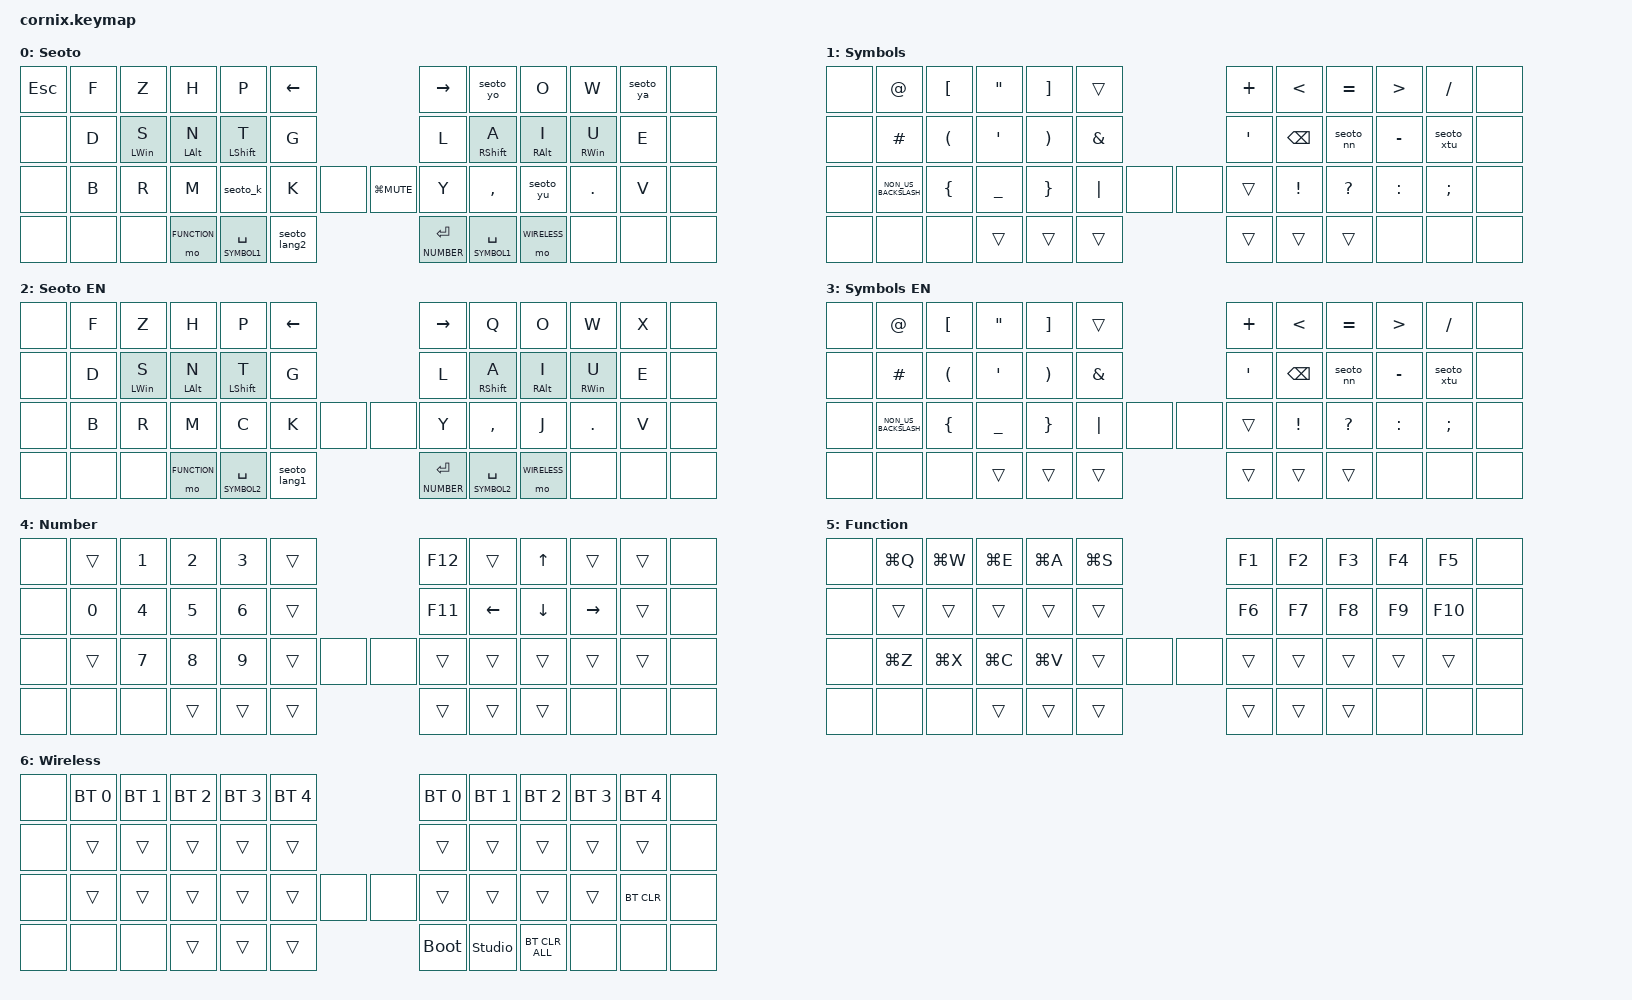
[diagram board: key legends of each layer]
#include <behaviors.dtsi>
#include <dt-bindings/zmk/bt.h>
#include <dt-bindings/zmk/keys.h>

#define SYMBOL1 1
#define SEOTO_EN 2
#define SYMBOL2 3
#define NUMBER 4
#define FUNCTION 5
#define WIRELESS 6

&mt {
    flavor = "tap-preferred";
    tapping-term-ms = <225>;
    quick-tap-ms = <200>;
    require-prior-idle-ms = <150>;
};

&lt {
    flavor = "balanced";
    tapping-term-ms = <175>;
    quick-tap-ms = <200>;
};

/ {
    macros {
        seoto_nn: seoto_nn {
            compatible = "zmk,behavior-macro";
            #binding-cells = <0>;
            bindings = <&macro_tap>, <&kp N &kp N>;
        };

        seoto_xtu: seoto_xtu {
            compatible = "zmk,behavior-macro";
            #binding-cells = <0>;
            bindings = <&macro_tap>, <&kp X &kp T &kp U>;
        };

        seoto_k: seoto_k {
            compatible = "zmk,behavior-macro";
            #binding-cells = <0>;
            bindings = <&macro_tap>, <&kp K>;
        };

        seoto_ya: seoto_ya {
            compatible = "zmk,behavior-macro";
            #binding-cells = <0>;
            bindings = <&macro_tap>, <&kp Y &kp A>;
        };

        seoto_yu: seoto_yu {
            compatible = "zmk,behavior-macro";
            #binding-cells = <0>;
            bindings = <&macro_tap>, <&kp Y &kp U>;
        };

        seoto_yo: seoto_yo {
            compatible = "zmk,behavior-macro";
            #binding-cells = <0>;
            bindings = <&macro_tap>, <&kp Y &kp O>;
        };

        seoto_lang1: seoto_lang1 {
            compatible = "zmk,behavior-macro";
            #binding-cells = <0>;
            bindings = <&macro_tap>, <&kp LANGUAGE_1 &kp INTERNATIONAL_4 &to 0>;
        };

        seoto_lang2: seoto_lang2 {
            compatible = "zmk,behavior-macro";
            #binding-cells = <0>;
            bindings =
                <&macro_tap>,
                <&kp LANGUAGE_2 &kp INTERNATIONAL_5 &to SEOTO_EN>;
        };
    };

    combos {
        compatible = "zmk,combos";

        space {
            bindings = <&kp SPACE>;
            key-positions = <29 28>;
        };
    };

    keymap {
        compatible = "zmk,keymap";

        seoto_layer {
            display-name = "Seoto";
            bindings = <
&kp ESCAPE  &kp F  &kp Z           &kp H           &kp P              &kp LEFT_ARROW                         &kp RIGHT_ARROW   &seoto_yo          &kp O            &kp W            &seoto_ya  &none
&none       &kp D  &mt LEFT_WIN S  &mt LEFT_ALT N  &mt LEFT_SHIFT T   &kp G                                  &kp L             &mt RIGHT_SHIFT A  &mt RIGHT_ALT I  &mt RIGHT_WIN U  &kp E      &none
&none       &kp B  &kp R           &kp M           &seoto_k           &kp K           &none  &kp LG(K_MUTE)  &kp Y             &kp COMMA          &seoto_yu        &kp DOT          &kp V      &none
&none       &none  &none           &mo FUNCTION    &lt SYMBOL1 SPACE  &seoto_lang2                           &lt NUMBER ENTER  &lt SYMBOL1 SPACE  &mo WIRELESS     &none            &none      &none
            >;
        };

        symbol1 {
            display-name = "Symbols";
            bindings = <
&none  &kp AT_SIGN           &kp LEFT_BRACKET      &kp DOUBLE_QUOTES  &kp RIGHT_BRACKET      &trans                       &kp PLUS  &kp LESS_THAN    &kp EQUAL     &kp GREATER_THAN  &kp SLASH   &none
&none  &kp HASH              &kp LEFT_PARENTHESIS  &kp SQT            &kp RIGHT_PARENTHESIS  &kp AMPERSAND                &kp APOS  &kp BACKSPACE    &seoto_nn     &kp MINUS         &seoto_xtu  &none
&none  &kp NON_US_BACKSLASH  &kp LEFT_BRACE        &kp UNDERSCORE     &kp RIGHT_BRACE        &kp PIPE       &none  &none  &trans    &kp EXCLAMATION  &kp QUESTION  &kp COLON         &kp SEMI    &none
&none  &none                 &none                 &trans             &trans                 &trans                       &trans    &trans           &trans        &none             &none       &none
            >;
        };

        seoto_en_layer {
            display-name = "Seoto EN";
            bindings = <
&none  &kp F  &kp Z           &kp H           &kp P              &kp LEFT_ARROW                &kp RIGHT_ARROW   &kp Q              &kp O            &kp W            &kp X  &none
&none  &kp D  &mt LEFT_WIN S  &mt LEFT_ALT N  &mt LEFT_SHIFT T   &kp G                         &kp L             &mt RIGHT_SHIFT A  &mt RIGHT_ALT I  &mt RIGHT_WIN U  &kp E  &none
&none  &kp B  &kp R           &kp M           &kp C              &kp K           &none  &none  &kp Y             &kp COMMA          &kp J            &kp DOT          &kp V  &none
&none  &none  &none           &mo FUNCTION    &lt SYMBOL2 SPACE  &seoto_lang1                  &lt NUMBER ENTER  &lt SYMBOL2 SPACE  &mo WIRELESS     &none            &none  &none
            >;
        };

        symbol2 {
            display-name = "Symbols EN";
            bindings = <
&none  &kp AT_SIGN           &kp LEFT_BRACKET      &kp DOUBLE_QUOTES  &kp RIGHT_BRACKET      &trans                       &kp PLUS  &kp LESS_THAN    &kp EQUAL     &kp GREATER_THAN  &kp SLASH   &none
&none  &kp HASH              &kp LEFT_PARENTHESIS  &kp SQT            &kp RIGHT_PARENTHESIS  &kp AMPERSAND                &kp APOS  &kp BACKSPACE    &seoto_nn     &kp MINUS         &seoto_xtu  &none
&none  &kp NON_US_BACKSLASH  &kp LEFT_BRACE        &kp UNDERSCORE     &kp RIGHT_BRACE        &kp PIPE       &none  &none  &trans    &kp EXCLAMATION  &kp QUESTION  &kp COLON         &kp SEMI    &none
&none  &none                 &none                 &trans             &trans                 &trans                       &trans    &trans           &trans        &none             &none       &none
            >;
        };

        number {
            display-name = "Number";
            bindings = <
&none  &trans  &kp N1  &kp N2  &kp N3  &trans                &kp F12  &trans          &kp UP_ARROW    &trans           &trans  &none
&none  &kp N0  &kp N4  &kp N5  &kp N6  &trans                &kp F11  &kp LEFT_ARROW  &kp DOWN_ARROW  &kp RIGHT_ARROW  &trans  &none
&none  &trans  &kp N7  &kp N8  &kp N9  &trans  &none  &none  &trans   &trans          &trans          &trans           &trans  &none
&none  &none   &none   &trans  &trans  &trans                &trans   &trans          &trans          &none            &none   &none
            >;
        };

        function_layer {
            display-name = "Function";
            bindings = <
&none  &kp LG(Q)  &kp LG(W)  &kp LG(E)  &kp LG(A)  &kp LG(S)                &kp F1  &kp F2  &kp F3  &kp F4  &kp F5   &none
&none  &trans     &trans     &trans     &trans     &trans                   &kp F6  &kp F7  &kp F8  &kp F9  &kp F10  &none
&none  &kp LG(Z)  &kp LG(X)  &kp LG(C)  &kp LG(V)  &trans     &none  &none  &trans  &trans  &trans  &trans  &trans   &none
&none  &none      &none      &trans     &trans     &trans                   &trans  &trans  &trans  &none   &none    &none
            >;
        };

        wireless {
            display-name = "Wireless";
            bindings = <
&none  &bt BT_SEL 0  &bt BT_SEL 1  &bt BT_SEL 2  &bt BT_SEL 3  &bt BT_SEL 4                &bt BT_SEL 0  &bt BT_SEL 1    &bt BT_SEL 2    &bt BT_SEL 3  &bt BT_SEL 4  &none
&none  &trans        &trans        &trans        &trans        &trans                      &trans        &trans          &trans          &trans        &trans        &none
&none  &trans        &trans        &trans        &trans        &trans        &none  &none  &trans        &trans          &trans          &trans        &bt BT_CLR    &none
&none  &none         &none         &trans        &trans        &trans                      &bootloader   &studio_unlock  &bt BT_CLR_ALL  &none         &none         &none
            >;
        };
    };
};
